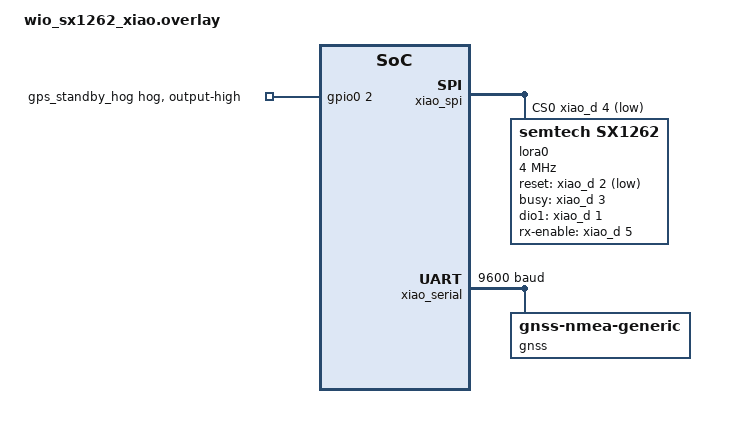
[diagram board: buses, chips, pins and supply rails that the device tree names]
/*
 * SPDX-License-Identifier: Apache-2.0
 *
 * Wio-SX1262 for XIAO (standalone SKU 113010003 / nRF52840 kit SKU 102010710 pinout —
 * Meshtastic's SEEED_XIAO_NRF_KIT_DEFAULT, NOT the 30-pin board-to-board variant).
 *
 * Pin source: upstream Meshtastic
 * firmware/variants/nrf52840/seeed_xiao_nrf52840_kit/variant.h, the "Wio-SX1262 for
 * XIAO" block (there are three pinout blocks in that file gated on
 * XIAO_BLE_LEGACY_PINOUT / SEEED_XIAO_NRF_WIO_BTB / neither — this shield is the third,
 * "neither" case, "Same for both default and I2C pinouts"):
 *
 *   SX126X_CS    D4      SX126X_RESET D2      SX126X_BUSY D3
 *   SX126X_DIO1  D1      SX126X_RXEN  D5      SX126X_TXEN  (not connected)
 *   SX126X_DIO2_AS_RF_SWITCH (silicon-level TX/RX path select)
 *   SX126X_DIO3_TCXO_VOLTAGE 1.8
 *   GPS_TX_PIN D6, GPS_RX_PIN D7, PIN_GPS_STANDBY D0 (SEEED_XIAO_NRF_KIT_DEFAULT only —
 *   the I2C-variant build moves GPS to the NFC pins instead; this shield follows the
 *   DEFAULT variant, matching the shield name/pinout choice above)
 *
 * D-pin -> physical GPIO comes from Zephyr's OWN xiao_ble board, not re-derived:
 * zephyr/boards/seeed/xiao_ble/seeed_xiao_connector.dtsi (the "xiao_d" gpio-map) and
 * xiao_ble_common.dtsi (xiao_spi=&spi2, xiao_serial=&uart0, confirmed wired to D8/D9/D10
 * and D6/D7 respectively via that board's own pinctrl — nothing here is a new pinctrl
 * assignment, this shield only enables buses the base board already routes to the
 * header).
 *
 * rx-enable-gpios (not a board-specific C hook): Zephyr's native sx126x driver
 * (zephyr/dts/bindings/lora/semtech,sx126x-base.yaml) has first-class
 * tx-enable-gpios/rx-enable-gpios properties — "the driver tracks the state of the
 * radio and controls the RF switch" — the same job RadioLib's SX126x RXEN/TXEN
 * constructor args do upstream. TXEN is omitted (not connected on this module, per
 * variant.h). Polarity (GPIO_ACTIVE_HIGH) is the conventional default for an
 * enable-type pin, matching how other SX126x RF-switch-enable pins in this project are
 * wired — VERIFY(hardware), nothing sourced here states the polarity explicitly.
 *
 * GPS standby polarity: variant.h states PIN_GPS_STANDBY=D0 with no explicit polarity.
 * "Drive high to force wake" mirrors heltec_wifi_lora32_v4's own gps_standby_hog for the
 * same L76K module family — a reasonable inference (same chip, not a guess about this
 * board's wiring), but VERIFY(hardware) before trusting it.
 *
 * Deliberately NOT here: battery ADC (Meshtastic's BATTERY_PIN/VBAT_ENABLE reference raw
 * nRF52840 Arduino pin numbers 32/14, which are NOT header pins covered by the xiao_d
 * connector map — they're presumably internal to the XIAO module's own battery-monitor
 * circuit, a property of the base xiao_ble board, not this radio shield. Zephyr's own
 * xiao_ble board defines no such ADC channel node upstream either. Out of scope for a
 * shield; would need its own investigation, likely as a board-level fix or an
 * app/boards/xiao_ble.overlay, not bundled in here.) The tri-color status LED is also
 * left as whatever zephyr/boards/seeed/xiao_ble already defines (led0/led1) rather than
 * re-deriving Meshtastic's separate Arduino-numbered LED pins (11/12/13), which this
 * doc has no independently-sourced way to cross-check against Zephyr's own mapping.
 */

#include <zephyr/dt-bindings/gpio/gpio.h>
#include <zephyr/dt-bindings/lora/sx126x.h>

/ {
	aliases {
		lora0 = &lora0;
	};
};

/*
 * PIN_GPS_STANDBY (D0). A gpio-hog must sit directly under its real controller (the
 * xiao_d nexus is a remapping layer for normal gpio-dt-spec consumers, not a valid hog
 * parent) -- D0 = gpio0 pin 2 per seeed_xiao_connector.dtsi's own gpio-map. See the
 * polarity note above.
 */
&gpio0 {
	gps_standby_hog: gps_standby_hog {
		gpio-hog;
		gpios = <2 GPIO_ACTIVE_HIGH>;
		output-high;
	};
};

&xiao_spi {
	status = "okay";
	cs-gpios = <&xiao_d 4 GPIO_ACTIVE_LOW>;

	lora0: modem@0 {
		compatible = "semtech,sx1262";
		reg = <0>;
		reset-gpios = <&xiao_d 2 GPIO_ACTIVE_LOW>;
		busy-gpios = <&xiao_d 3 GPIO_ACTIVE_HIGH>;
		dio1-gpios = <&xiao_d 1 GPIO_ACTIVE_HIGH>;
		rx-enable-gpios = <&xiao_d 5 GPIO_ACTIVE_HIGH>;
		dio2-tx-enable;
		dio3-tcxo-voltage = <SX126X_DIO3_TCXO_1V8>;
		tcxo-power-startup-delay-ms = <5>;
		spi-max-frequency = <4000000>;
	};
};

&xiao_serial {
	status = "okay";
	current-speed = <9600>;

	gnss: gnss {
		compatible = "gnss-nmea-generic";
		status = "okay";
	};
};
